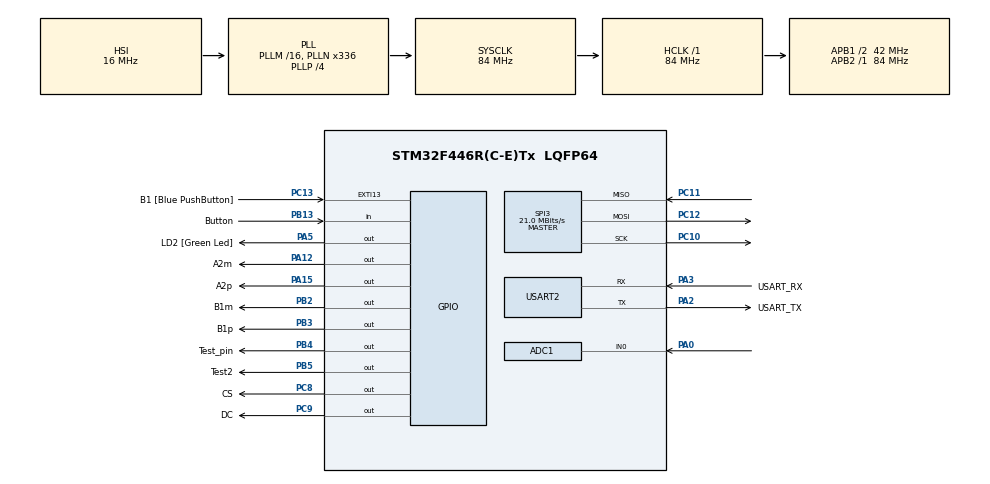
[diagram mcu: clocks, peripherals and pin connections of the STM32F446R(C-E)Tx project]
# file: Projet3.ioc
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ADC1.Channel-3\#ChannelRegularConversion=ADC_CHANNEL_0
ADC1.NbrOfConversionFlag=1
ADC1.Rank-3\#ChannelRegularConversion=1
ADC1.SamplingTime-3\#ChannelRegularConversion=ADC_SAMPLETIME_3CYCLES
ADC1.master=1
Dma.Request0=SPI3_TX
Dma.SPI3_TX.0.Direction=DMA_MEMORY_TO_PERIPH
Dma.SPI3_TX.0.FIFOMode=DMA_FIFOMODE_DISABLE
Dma.SPI3_TX.0.Instance=DMA1_Stream7
Dma.SPI3_TX.0.MemDataAlignment=DMA_MDATAALIGN_BYTE
Dma.SPI3_TX.0.MemInc=DMA_MINC_ENABLE
Dma.SPI3_TX.0.Mode=DMA_NORMAL
Dma.SPI3_TX.0.PeriphDataAlignment=DMA_PDATAALIGN_BYTE
Dma.SPI3_TX.0.PeriphInc=DMA_PINC_DISABLE
Dma.SPI3_TX.0.Priority=DMA_PRIORITY_LOW
Mcu.Family=STM32F4
Mcu.Name=STM32F446R(C-E)Tx
Mcu.Package=LQFP64
NVIC.ADC_IRQn=true\:0\:0\:false\:false\:true\:true\:true\:true
NVIC.DMA1_Stream7_IRQn=true\:0\:0\:false\:false\:true\:false\:true\:true
NVIC.PriorityGroup=NVIC_PRIORITYGROUP_0
PA0-WKUP.Signal=ADCx_IN0
PA12.GPIO_Label=A2m
PA12.Signal=GPIO_Output
PA13.GPIO_Label=TMS
PA13.Mode=Serial_Wire
PA13.Signal=SYS_JTMS-SWDIO
PA14.GPIO_Label=TCK
PA14.Mode=Serial_Wire
PA14.Signal=SYS_JTCK-SWCLK
PA15.GPIO_Label=A2p
PA15.Signal=GPIO_Output
PA2.GPIO_Label=USART_TX
PA2.Mode=Asynchronous
PA2.Signal=USART2_TX
PA3.GPIO_Label=USART_RX
PA3.Mode=Asynchronous
PA3.Signal=USART2_RX
PA5.GPIO_Label=LD2 [Green Led]
PA5.Signal=GPIO_Output
PB13.GPIO_Label=Button
PB13.GPIO_PuPd=GPIO_PULLUP
PB13.Signal=GPIO_Input
PB2.GPIO_Label=B1m
PB2.Signal=GPIO_Output
PB3.GPIO_Label=B1p
PB3.Signal=GPIO_Output
PB4.GPIO_Label=Test_pin
PB4.Signal=GPIO_Output
PB5.GPIO_Label=Test2
PB5.Signal=GPIO_Output
PC10.Mode=Full_Duplex_Master
PC10.Signal=SPI3_SCK
PC11.Mode=Full_Duplex_Master
PC11.Signal=SPI3_MISO
PC12.Mode=Full_Duplex_Master
PC12.Signal=SPI3_MOSI
PC13.GPIO_Label=B1 [Blue PushButton]
PC13.GPIO_ModeDefaultEXTI=GPIO_MODE_IT_FALLING
PC13.Signal=GPXTI13
PC14-OSC32_IN.Mode=LSE-External-Oscillator
PC14-OSC32_IN.Signal=RCC_OSC32_IN
PC15-OSC32_OUT.Mode=LSE-External-Oscillator
PC15-OSC32_OUT.Signal=RCC_OSC32_OUT
PC8.GPIO_Label=CS
PC8.GPIO_Speed=GPIO_SPEED_FREQ_VERY_HIGH
PC8.Signal=GPIO_Output
PC9.GPIO_Label=DC
PC9.GPIO_Speed=GPIO_SPEED_FREQ_VERY_HIGH
PC9.Signal=GPIO_Output
PH0-OSC_IN.Mode=HSE-External-Oscillator
PH0-OSC_IN.Signal=RCC_OSC_IN
PH1-OSC_OUT.Mode=HSE-External-Oscillator
PH1-OSC_OUT.Signal=RCC_OSC_OUT
ProjectManager.HeapSize=0x200
ProjectManager.StackSize=0x400
ProjectManager.TargetToolchain=STM32CubeIDE
RCC.48MHZClocksFreq_Value=84000000
RCC.AHBFreq_Value=84000000
RCC.APB1CLKDivider=RCC_HCLK_DIV2
RCC.APB1Freq_Value=42000000
RCC.APB1TimFreq_Value=84000000
RCC.APB2Freq_Value=84000000
RCC.APB2TimFreq_Value=84000000
RCC.CortexFreq_Value=84000000
RCC.FLatency-AdvancedSettings=FLASH_LATENCY_2
RCC.HCLKFreq_Value=84000000
RCC.HSE_VALUE=8000000
RCC.HSI_VALUE=16000000
RCC.PLLN=336
RCC.PLLP=RCC_PLLP_DIV4
RCC.SYSCLKFreq_VALUE=84000000
RCC.SYSCLKSource=RCC_SYSCLKSOURCE_PLLCLK
RCC.USBFreq_Value=168000000
RCC.VCOOutputFreq_Value=336000000
SH.ADCx_IN0.0=ADC1_IN0,IN0
SPI3.BaudRatePrescaler=SPI_BAUDRATEPRESCALER_2
SPI3.CalculateBaudRate=21.0 MBits/s
SPI3.Direction=SPI_DIRECTION_2LINES
SPI3.Mode=SPI_MODE_MASTER
SPI3.VirtualType=VM_MASTER
USART2.VirtualMode=VM_ASYNC
VP_TIM10_VS_ClockSourceINT.Mode=Enable_Timer
board=NUCLEO-F446RE

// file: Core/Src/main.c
/* USER CODE BEGIN Header */
/**
  ******************************************************************************
  * @file           : main.c
  * @brief          : Main program body
  ******************************************************************************
  * @attention
  *
  * <h2><center>&copy; Copyright (c) 2022 STMicroelectronics.
  * All rights reserved.</center></h2>
  *
  * This software component is licensed by ST under BSD 3-Clause license,
  * the "License"; You may not use this file except in compliance with the
  * License. You may obtain a copy of the License at:
  *                        opensource.org/licenses/BSD-3-Clause
  *
  ******************************************************************************
  */
/* USER CODE END Header */
#include "main.h"
#include "controlStepMotor.h"

/* USER CODE BEGIN Includes */
#include "ILI9341_GFX.h"
#include "ILI9341_STM32_Driver.h"

#include "stdio.h"
/* USER CODE END Includes */

/* USER CODE BEGIN PD */
#define temps_balayage_programme 8400
/* USER CODE END PD */

ADC_HandleTypeDef hadc1;

SPI_HandleTypeDef hspi3;
DMA_HandleTypeDef hdma_spi3_tx;

TIM_HandleTypeDef htim10;

UART_HandleTypeDef huart2;

void SystemClock_Config(void);
static void MX_GPIO_Init(void);
static void MX_DMA_Init(void);
static void MX_USART2_UART_Init(void);
static void MX_SPI3_Init(void);
static void MX_TIM10_Init(void);
static void MX_ADC1_Init(void);
/* USER CODE BEGIN PFP */
//void HAL_SPI_TxCpltCallback(SPI_HandleTypeDef *hspi);
void ADCconversion(float* ptrADCvalueFloat, int nSamples);
/* USER CODE END PFP */

/* USER CODE BEGIN 0 */
int cg = 1;
float ADCvalueFloat = 0;

/* USER CODE END 0 */

int main(void)
{
  /* USER CODE BEGIN 1 */
	char print_buffer[30];

  /* USER CODE END 1 */

  /* MCU Configuration--------------------------------------------------------*/

  /* Reset of all peripherals, Initializes the Flash interface and the Systick. */
  HAL_Init();

  /* Configure the system clock */
  SystemClock_Config();

  /* Initialize all configured peripherals */
  MX_GPIO_Init();
  MX_DMA_Init();
  MX_USART2_UART_Init();
  MX_SPI3_Init();
  MX_TIM10_Init();
  MX_ADC1_Init();
  /* USER CODE BEGIN 2 */

  ILI9341_Init();	//initial driver setup to drive ili9341
  HAL_Delay(100);	//Delai pour laisser l'Ã©cran se stabiliser

  ILI9341_Set_Rotation(SCREEN_HORIZONTAL_2);			//Orientation de l'Ã©cran
  ILI9341_Fill_Screen(BLACK);							//Efface l'Ã©cran

  ILI9341_Draw_Text("MESSAGE IDENTIFICATION", 10, 90, GREEN, 1, BLACK);

  HAL_Delay(2000);

  ILI9341_Fill_Screen(BLACK);							//Efface l'Ã©cran

  HAL_Delay(300);

  HAL_TIM_Base_Start(&htim10);

  /* USER CODE END 2 */

  /* Infinite loop */
  /* USER CODE BEGIN WHILE */
  while (1)
  {
	  if (__HAL_TIM_GET_COUNTER(&htim10) >= temps_balayage_programme){
		  __HAL_TIM_SET_COUNTER(&htim10,0);

		  // Processus à 1000 Hz ici

		  // fin processus 1000 Hz
		  //Processus 10 Hz v
		  if ((cg % 100) == 0){
			  ADCconversion(&ADCvalueFloat, 5);
		  }

		  // Processus 10 Hz intercalé
		  if (((cg + 50) % 100) == 0){
			  if (ADCvalueFloat > 1.65) fonctionControlMoteur(-1);
			  if (ADCvalueFloat <= 1.65) fonctionControlMoteur(1);

		  }

		  // Processus 2 Hz v
		  if ((cg % 500) == 0){

			  sprintf(print_buffer, "   %5.5f   ", ADCvalueFloat);
			  ILI9341_Draw_Text(print_buffer, 10, 90, GREEN, 1, BLACK);
		  }

		  // GESTION chien de garde cg
		  cg++;
		  if (cg > 1000) cg=1;

		  // Vérification si l'éxécution du programme est assez rapide ( <0.001s)
		  if (__HAL_TIM_GET_COUNTER(&htim10) > temps_balayage_programme){
			  printf("Augmenter la valeur de temps de la boucle.\nLe programme n'a pas le temps de s'éxécuter en entier.\n Dernier cg: %d", cg);
		  }
	  }
  }

    /* USER CODE END WHILE */

}

void SystemClock_Config(void)
{
  RCC_OscInitTypeDef RCC_OscInitStruct = {0};
  RCC_ClkInitTypeDef RCC_ClkInitStruct = {0};

  /** Configure the main internal regulator output voltage
  */
  __HAL_RCC_PWR_CLK_ENABLE();
  __HAL_PWR_VOLTAGESCALING_CONFIG(PWR_REGULATOR_VOLTAGE_SCALE3);

  /** Initializes the RCC Oscillators according to the specified parameters
  * in the RCC_OscInitTypeDef structure.
  */
  RCC_OscInitStruct.OscillatorType = RCC_OSCILLATORTYPE_HSI;
  RCC_OscInitStruct.HSIState = RCC_HSI_ON;
  RCC_OscInitStruct.HSICalibrationValue = RCC_HSICALIBRATION_DEFAULT;
  RCC_OscInitStruct.PLL.PLLState = RCC_PLL_ON;
  RCC_OscInitStruct.PLL.PLLSource = RCC_PLLSOURCE_HSI;
  RCC_OscInitStruct.PLL.PLLM = 16;
  RCC_OscInitStruct.PLL.PLLN = 336;
  RCC_OscInitStruct.PLL.PLLP = RCC_PLLP_DIV4;
  RCC_OscInitStruct.PLL.PLLQ = 2;
  RCC_OscInitStruct.PLL.PLLR = 2;
  if (HAL_RCC_OscConfig(&RCC_OscInitStruct) != HAL_OK)
  {
    Error_Handler();
  }

  /** Initializes the CPU, AHB and APB buses clocks
  */
  RCC_ClkInitStruct.ClockType = RCC_CLOCKTYPE_HCLK|RCC_CLOCKTYPE_SYSCLK
                              |RCC_CLOCKTYPE_PCLK1|RCC_CLOCKTYPE_PCLK2;
  RCC_ClkInitStruct.SYSCLKSource = RCC_SYSCLKSOURCE_PLLCLK;
  RCC_ClkInitStruct.AHBCLKDivider = RCC_SYSCLK_DIV1;
  RCC_ClkInitStruct.APB1CLKDivider = RCC_HCLK_DIV2;
  RCC_ClkInitStruct.APB2CLKDivider = RCC_HCLK_DIV1;

  if (HAL_RCC_ClockConfig(&RCC_ClkInitStruct, FLASH_LATENCY_2) != HAL_OK)
  {
    Error_Handler();
  }
}

static void MX_ADC1_Init(void)
{

  ADC_ChannelConfTypeDef sConfig = {0};

  /** Configure the global features of the ADC (Clock, Resolution, Data Alignment and number of conversion)
  */
  hadc1.Instance = ADC1;
  hadc1.Init.ClockPrescaler = ADC_CLOCK_SYNC_PCLK_DIV4;
  hadc1.Init.Resolution = ADC_RESOLUTION_12B;
  hadc1.Init.ScanConvMode = DISABLE;
  hadc1.Init.ContinuousConvMode = DISABLE;
  hadc1.Init.DiscontinuousConvMode = DISABLE;
  hadc1.Init.ExternalTrigConvEdge = ADC_EXTERNALTRIGCONVEDGE_NONE;
  hadc1.Init.ExternalTrigConv = ADC_SOFTWARE_START;
  hadc1.Init.DataAlign = ADC_DATAALIGN_RIGHT;
  hadc1.Init.NbrOfConversion = 1;
  hadc1.Init.DMAContinuousRequests = DISABLE;
  hadc1.Init.EOCSelection = ADC_EOC_SINGLE_CONV;
  if (HAL_ADC_Init(&hadc1) != HAL_OK)
  {
    Error_Handler();
  }

  /** Configure for the selected ADC regular channel its corresponding rank in the sequencer and its sample time.
  */
  sConfig.Channel = ADC_CHANNEL_0;
  sConfig.Rank = 1;
  sConfig.SamplingTime = ADC_SAMPLETIME_3CYCLES;
  if (HAL_ADC_ConfigChannel(&hadc1, &sConfig) != HAL_OK)
  {
    Error_Handler();
  }

}

static void MX_SPI3_Init(void)
{

  /* SPI3 parameter configuration*/
  hspi3.Instance = SPI3;
  hspi3.Init.Mode = SPI_MODE_MASTER;
  hspi3.Init.Direction = SPI_DIRECTION_2LINES;
  hspi3.Init.DataSize = SPI_DATASIZE_8BIT;
  hspi3.Init.CLKPolarity = SPI_POLARITY_LOW;
  hspi3.Init.CLKPhase = SPI_PHASE_1EDGE;
  hspi3.Init.NSS = SPI_NSS_SOFT;
  hspi3.Init.BaudRatePrescaler = SPI_BAUDRATEPRESCALER_2;
  hspi3.Init.FirstBit = SPI_FIRSTBIT_MSB;
  hspi3.Init.TIMode = SPI_TIMODE_DISABLE;
  hspi3.Init.CRCCalculation = SPI_CRCCALCULATION_DISABLE;
  hspi3.Init.CRCPolynomial = 10;
  if (HAL_SPI_Init(&hspi3) != HAL_OK)
  {
    Error_Handler();
  }

}

static void MX_TIM10_Init(void)
{

  htim10.Instance = TIM10;
  htim10.Init.Prescaler = 0;
  htim10.Init.CounterMode = TIM_COUNTERMODE_UP;
  htim10.Init.Period = 65535;
  htim10.Init.ClockDivision = TIM_CLOCKDIVISION_DIV1;
  htim10.Init.AutoReloadPreload = TIM_AUTORELOAD_PRELOAD_DISABLE;
  if (HAL_TIM_Base_Init(&htim10) != HAL_OK)
  {
    Error_Handler();
  }

}

static void MX_USART2_UART_Init(void)
{

  huart2.Instance = USART2;
  huart2.Init.BaudRate = 115200;
  huart2.Init.WordLength = UART_WORDLENGTH_8B;
  huart2.Init.StopBits = UART_STOPBITS_1;
  huart2.Init.Parity = UART_PARITY_NONE;
  huart2.Init.Mode = UART_MODE_TX_RX;
  huart2.Init.HwFlowCtl = UART_HWCONTROL_NONE;
  huart2.Init.OverSampling = UART_OVERSAMPLING_16;
  if (HAL_UART_Init(&huart2) != HAL_OK)
  {
    Error_Handler();
  }

}

static void MX_DMA_Init(void)
{

  /* DMA controller clock enable */
  __HAL_RCC_DMA1_CLK_ENABLE();

  /* DMA interrupt init */
  /* DMA1_Stream7_IRQn interrupt configuration */
  HAL_NVIC_SetPriority(DMA1_Stream7_IRQn, 0, 0);
  HAL_NVIC_EnableIRQ(DMA1_Stream7_IRQn);

}

static void MX_GPIO_Init(void)
{
  GPIO_InitTypeDef GPIO_InitStruct = {0};

  /* GPIO Ports Clock Enable */
  __HAL_RCC_GPIOC_CLK_ENABLE();
  __HAL_RCC_GPIOH_CLK_ENABLE();
  __HAL_RCC_GPIOA_CLK_ENABLE();
  __HAL_RCC_GPIOB_CLK_ENABLE();

  /*Configure GPIO pin Output Level */
  HAL_GPIO_WritePin(GPIOA, LD2_Pin|A2m_Pin|A2p_Pin, GPIO_PIN_RESET);

  /*Configure GPIO pin Output Level */
  HAL_GPIO_WritePin(GPIOB, B1m_Pin|B1p_Pin|Test_pin_Pin|Test2_Pin, GPIO_PIN_RESET);

  /*Configure GPIO pin Output Level */
  HAL_GPIO_WritePin(GPIOC, CS_Pin|DC_Pin, GPIO_PIN_RESET);

  /*Configure GPIO pin : B1_Pin */
  GPIO_InitStruct.Pin = B1_Pin;
  GPIO_InitStruct.Mode = GPIO_MODE_IT_FALLING;
  GPIO_InitStruct.Pull = GPIO_NOPULL;
  HAL_GPIO_Init(B1_GPIO_Port, &GPIO_InitStruct);

  /*Configure GPIO pins : LD2_Pin A2m_Pin A2p_Pin */
  GPIO_InitStruct.Pin = LD2_Pin|A2m_Pin|A2p_Pin;
  GPIO_InitStruct.Mode = GPIO_MODE_OUTPUT_PP;
  GPIO_InitStruct.Pull = GPIO_NOPULL;
  GPIO_InitStruct.Speed = GPIO_SPEED_FREQ_LOW;
  HAL_GPIO_Init(GPIOA, &GPIO_InitStruct);

  /*Configure GPIO pins : B1m_Pin B1p_Pin Test_pin_Pin Test2_Pin */
  GPIO_InitStruct.Pin = B1m_Pin|B1p_Pin|Test_pin_Pin|Test2_Pin;
  GPIO_InitStruct.Mode = GPIO_MODE_OUTPUT_PP;
  GPIO_InitStruct.Pull = GPIO_NOPULL;
  GPIO_InitStruct.Speed = GPIO_SPEED_FREQ_LOW;
  HAL_GPIO_Init(GPIOB, &GPIO_InitStruct);

  /*Configure GPIO pin : Button_Pin */
  GPIO_InitStruct.Pin = Button_Pin;
  GPIO_InitStruct.Mode = GPIO_MODE_INPUT;
  GPIO_InitStruct.Pull = GPIO_PULLUP;
  HAL_GPIO_Init(Button_GPIO_Port, &GPIO_InitStruct);

  /*Configure GPIO pins : CS_Pin DC_Pin */
  GPIO_InitStruct.Pin = CS_Pin|DC_Pin;
  GPIO_InitStruct.Mode = GPIO_MODE_OUTPUT_PP;
  GPIO_InitStruct.Pull = GPIO_NOPULL;
  GPIO_InitStruct.Speed = GPIO_SPEED_FREQ_VERY_HIGH;
  HAL_GPIO_Init(GPIOC, &GPIO_InitStruct);

}

/* USER CODE BEGIN 4 */
void ADCconversion(float* ptrADCvalueFloat, int nSamples){
	*ptrADCvalueFloat = 0;

	for (int i=0; i<nSamples; i++){
	HAL_ADC_Start(&hadc1);
	HAL_ADC_PollForConversion(&hadc1, 1000);
	*ptrADCvalueFloat += (float)HAL_ADC_GetValue(&hadc1)/4095.0*3.3/nSamples;
	}
}
/* USER CODE END 4 */

void Error_Handler(void)
{
  __disable_irq();
  while (1)
  {
  }
}
